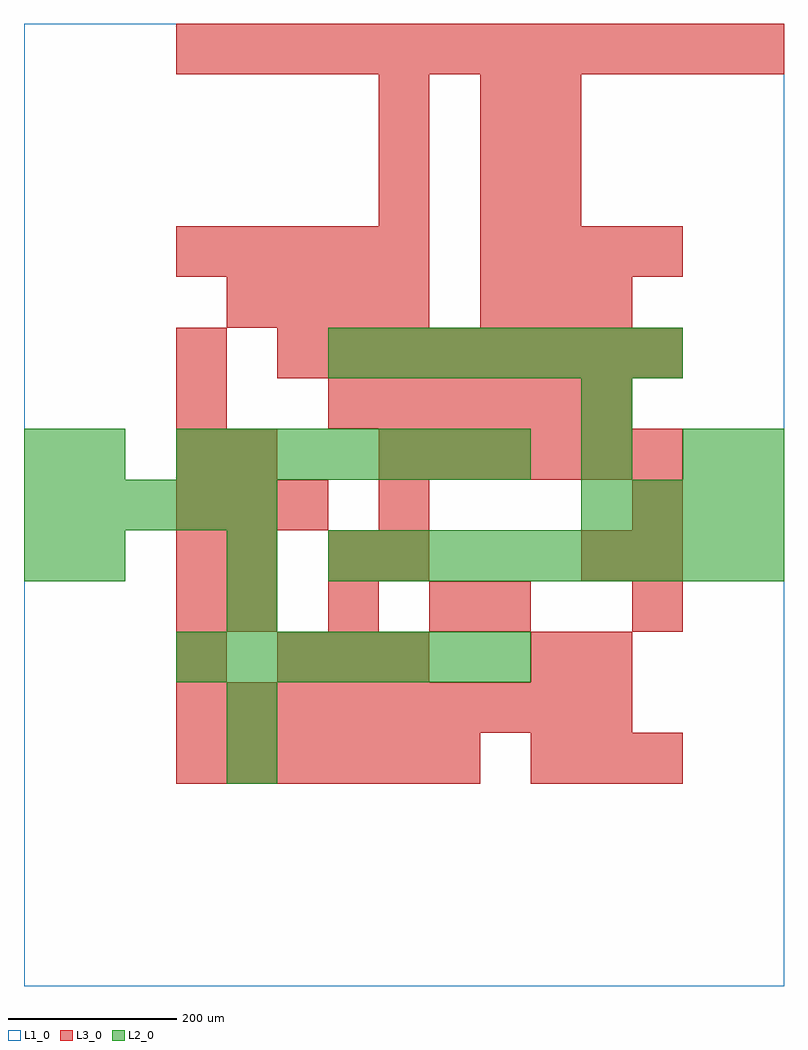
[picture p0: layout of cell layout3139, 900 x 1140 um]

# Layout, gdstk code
import gdstk
lib = gdstk.Library(unit=1e-6, precision=1e-09)
def R(c, l, rs):  # rectangles x0, y0, x1, y1
    for r in rs: c.add(gdstk.rectangle(r[:2], r[2:], *l))
def A(c, l, x, y, w, h, nx, ny, dx, dy):  # array of equal rectangles
    R(c, l, [(x+i*dx, y+j*dy, x+i*dx+w, y+j*dy+h) for i in range(nx) for j in range(ny)])
L1_0 = (1, 0)
L2_0 = (2, 0)
L3_0 = (3, 0)

layout3139 = lib.new_cell('layout3139')
R(layout3139, L1_0, [(0,0,900,1140)])
A(layout3139, L2_0, 180, 360, 60, 60, 7, 2, 60, 240)
A(layout3139, L2_0, 360, 480, 60, 60, 9, 1, 60, 0)
A(layout3139, L2_0, 0, 540, 60, 60, 5, 1, 60, 0)
A(layout3139, L2_0, 660, 540, 60, 60, 4, 1, 60, 0)
A(layout3139, L2_0, 360, 720, 60, 60, 7, 1, 60, 0)
R(layout3139, L2_0, [(240,240,300,300), (240,300,300,360), (240,420,300,480), (0,480,60,540), (60,480,120,540), (240,480,300,540), (0,600,60,660), (60,600,120,660), (660,600,720,660), (780,600,840,660), (840,600,900,660), (660,660,720,720)])
A(layout3139, L3_0, 180, 240, 60, 60, 6, 1, 60, 0)
A(layout3139, L3_0, 600, 240, 60, 60, 3, 1, 60, 0)
A(layout3139, L3_0, 180, 300, 60, 60, 9, 1, 60, 0)
A(layout3139, L3_0, 180, 360, 60, 60, 1, 3, 0, 60)
A(layout3139, L3_0, 300, 360, 60, 60, 3, 1, 60, 0)
A(layout3139, L3_0, 240, 420, 60, 60, 3, 1, 120, 0)
A(layout3139, L3_0, 720, 420, 60, 60, 1, 3, 0, 60)
A(layout3139, L3_0, 180, 540, 60, 60, 3, 1, 60, 0)
A(layout3139, L3_0, 180, 600, 60, 60, 1, 3, 0, 60)
A(layout3139, L3_0, 420, 600, 60, 60, 6, 1, 60, 0)
A(layout3139, L3_0, 360, 660, 60, 60, 6, 1, 60, 0)
A(layout3139, L3_0, 300, 720, 60, 60, 8, 1, 60, 0)
A(layout3139, L3_0, 240, 780, 60, 60, 4, 1, 60, 0)
A(layout3139, L3_0, 540, 780, 60, 60, 3, 1, 60, 0)
A(layout3139, L3_0, 180, 840, 60, 60, 5, 1, 60, 0)
A(layout3139, L3_0, 540, 840, 60, 60, 4, 1, 60, 0)
A(layout3139, L3_0, 420, 900, 60, 60, 1, 3, 0, 60)
A(layout3139, L3_0, 540, 900, 60, 60, 1, 3, 0, 60)
A(layout3139, L3_0, 600, 900, 60, 60, 1, 3, 0, 60)
A(layout3139, L3_0, 180, 1080, 60, 60, 12, 1, 60, 0)
R(layout3139, L3_0, [(600,360,660,420), (660,360,720,420), (540,420,600,480), (240,480,300,540), (360,480,420,540), (420,480,480,540), (660,480,720,540), (420,540,480,600), (240,600,300,660)])

lib.write_gds('layout3139.gds')
